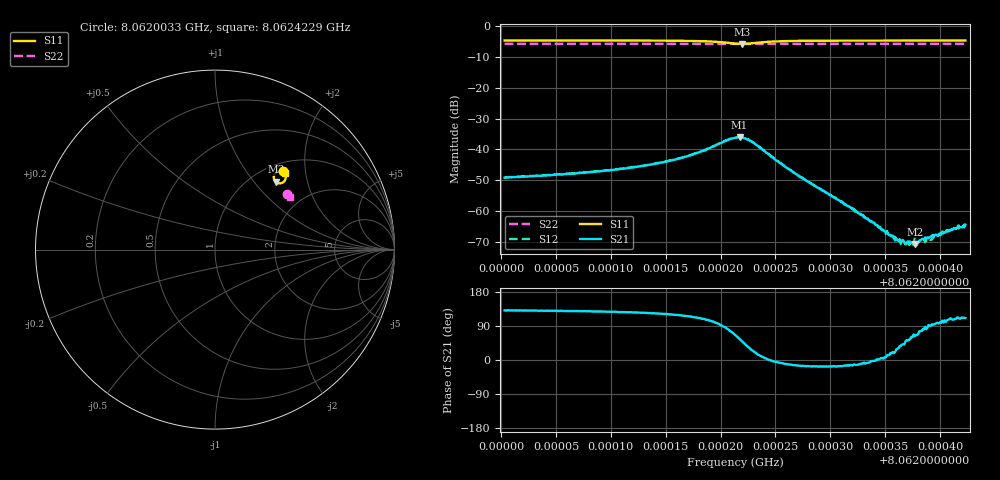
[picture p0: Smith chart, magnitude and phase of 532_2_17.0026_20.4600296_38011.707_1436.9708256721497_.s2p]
#  HZ  S  RI  R  50.00
! Rohde & Schwarz Vector Network Analyzer
! Rohde-Schwarz,ZNB20-2Port,1311601062101988,3.16
! Created: UTC 3/20/2024, 11:15:57 PM
! freq[Hz]  re:S11  im:S11  re:S21  im:S21  re:S12  im:S12  re:S22  im:S22
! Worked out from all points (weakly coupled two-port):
!   401 points, 8.0620033 GHz to 8.0624229 GHz, reference 50 ohm
!   highest |S21| = -36.02 dB at 8.0622173 GHz (marker M1); lowest = -70.5 dB at 8.0623768 GHz (marker M2)
!   lowest |S11| = -5.9 dB at 8.0622194 GHz (marker M3), VSWR 3.06, Z = 64 + j65.1 ohm
!   |S11| at or under -10 dB: nowhere
!   |S22| runs from -5.9 to -5.9 dB; largest |S21 - S12| = 0.001
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8.06200331e9  0.3771 0.4355  -0.00229 0.00265  -0.00219 0.00283  0.4029 0.3113
8.0620736e9  0.3831 0.4296  -0.00262 0.00328  -0.00245 0.00343  0.4055 0.3074
8.06211137e9  0.3867 0.4249  -0.00291 0.00393  -0.00271 0.00414  0.407 0.3057
8.06214389e9  0.3907 0.4185  -0.00324 0.00508  -0.00295 0.00531  0.4081 0.3036
8.06217326e9  0.3942 0.4068  -0.00337 0.0074  -0.00293 0.00766  0.4091 0.3016
8.06219739e9  0.3885 0.3839  -0.00127 0.0121  -0.000543 0.0122  0.4092 0.2995
8.06221313e9  0.3572 0.3694  0.00615 0.0141  0.00707 0.0139  0.4082 0.2986
8.06221732e9  0.3444 0.3736  0.00908 0.0129  0.00972 0.0124  0.4079 0.2987
8.06221942e9  0.3386 0.3777  0.0101 0.0117  0.0108 0.0113  0.4077 0.2989
8.06222991e9  0.3277 0.4068  0.0118 0.00505  0.0123 0.00439  0.4081 0.2999
8.06225824e9  0.3554 0.4355  0.00527 -0.000934  0.0053 -0.00122  0.4106 0.2993
8.06228342e9  0.3686 0.4352  0.00262 -0.000794  0.00263 -0.000943  0.4121 0.298
8.06231804e9  0.3776 0.4321  0.00113 -0.000267  0.00112 -0.000365  0.4136 0.2962
8.06235371e9  0.3829 0.4291  0.000401 9.42e-05  0.000435 9.5e-05  0.4148 0.2942
8.06236e9  0.3836 0.4288  0.000313 0.000167  0.000349 0.000109  0.4152 0.2938
8.0623663e9  0.3844 0.4282  0.000258 0.000227  0.000231 0.000214  0.4155 0.2935
8.06237679e9  0.3855 0.4275  0.000137 0.000265  0.000173 0.00033  0.4157 0.293
8.06237993e9  0.3858 0.4272  0.000115 0.00029  9.76e-05 0.000305  0.4159 0.2927
8.06238308e9  0.386 0.427  8.12e-05 0.000344  8.24e-05 0.00032  0.4158 0.2926
8.06239043e9  0.3868 0.4264  3.01e-06 0.000382  1.11e-05 0.00035  0.4162 0.2922
8.06239567e9  0.3873 0.4261  -4e-05 0.000419  -5.32e-05 0.00039  0.4165 0.292
8.06242295e9  0.3897 0.4243  -0.000216 0.000572  -0.000179 0.000569  0.4174 0.2905
